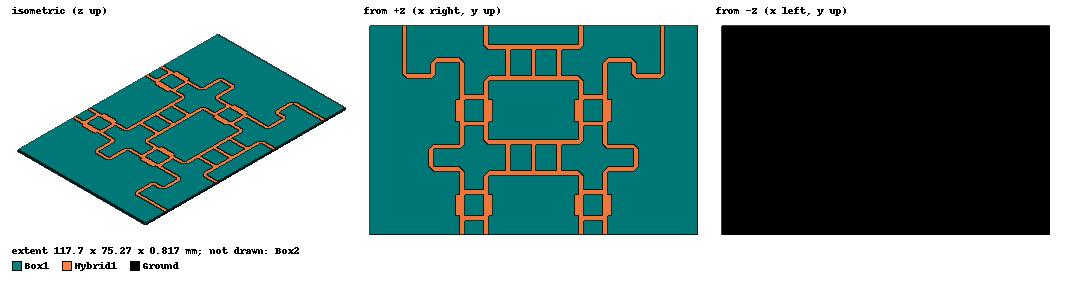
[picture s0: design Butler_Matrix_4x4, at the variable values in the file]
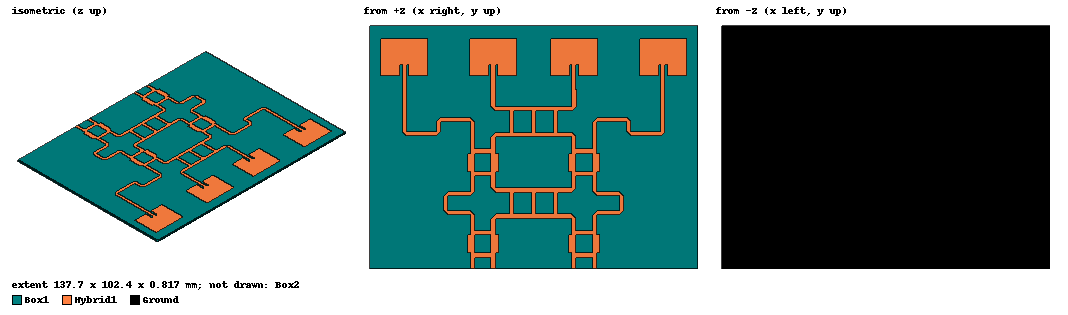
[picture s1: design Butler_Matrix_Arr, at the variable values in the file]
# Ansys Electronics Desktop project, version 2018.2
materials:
  copper: permeability=0.999991 conductivity=58000000
  FR4_epoxy: permittivity=4.4 dielectric_loss_tangent=0.02
  Rogers RO4003 (tm): permittivity=3.55 dielectric_loss_tangent=0.0027
  vacuum: permittivity=1

design Butler_Matrix_4x4 (HFSS, DrivenModal, model units mm)
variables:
  H = 0.8mm
  W_50 = 2.3mm
  Hybrid_L_35 = 7.82mm
  Hybrid_L_50 = 7.05mm
  Hybrid_L = 2*Hybrid_L_feed+2*Hybrid_W_50+Hybrid_L_35
  Hybrid_W = 25mm
  Hybrid_W_50 = 1.7645mm
  Hybrid_W_35 = 2.985mm
  Hybrid_L_feed = 5mm
  Cross_L_50 = 9.2mm
  Cross_W_50 = 1.76771mm
  Cross_L_feed = 6mm
  Cross_L = 2*Cross_L_feed+2*Cross_L_50+Cross_W_50
  Cross_W = 25mm
  Phase_c = 6.20642mm
  Phase_W = 40mm
  Phase_W_50 = 1.7645mm
  Phase_a = 1.5mm
  Phase_b = 9.3mm
  L_feed6 = L_feed5
  L_feed7 = L_feed5
  L_feed5 = 7.1mm
  L = 2*Hybrid_L+2*Cross_L_50+4*Cross_W_50+L_feed5
  L_feed8 = L_feed5
  W = Cross_L+6*Hybrid_W_50+2*Hybrid_L_50+2*Phase_b
  exten_b = 4mm
  exten_W_50 = 1.7645mm
  exten_a = 6.36771mm
  exten_c = 8.5mm
  exten_W = 30mm
  exten_L = 2*exten_a+2*exten_W_50+exten_c
  Phase_L = 2*Phase_a+2*Phase_W_50+Phase_c
  L_feed = 5mm
  L_50 = 9.2mm
  exten_pad = 6mm
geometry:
  Box1 [Rogers RO4003 (tm)] = box(corner=(-25mm, 0mm, 0mm), size=(W+42.292mm, L, H))
  Ground = object_from(Box1.face(-z))
  Port2 = rectangle(corner=(Hybrid_W/2+Hybrid_L_50/2, 0mm, H), z_size=-H, x_size=Hybrid_W_50)
  Port1 = rectangle(corner=(Hybrid_W/2-Hybrid_L_50/2, 0mm, H), z_size=-H, x_size=-Hybrid_W_50)
  Port3 = rectangle(corner=(Cross_L+Hybrid_W/2+Hybrid_L_50/2+Hybrid_W_50, 0mm, H), z_size=-H, x_size=Hybrid_W_50)
  Port4 = rectangle(corner=(Cross_L+Hybrid_W/2+1.5*Hybrid_L_50+2*Hybrid_W_50, 0mm, H), z_size=-H, x_size=Hybrid_W_50)
  Port5 = rectangle(corner=(Hybrid_W/2-Hybrid_L_50/2-2*exten_W_50-2*exten_c, L, H), z_size=-H, x_size=-Hybrid_W_50)
  Port6 = rectangle(corner=(Hybrid_W/2+Hybrid_L_50/2, L, H), z_size=-H, x_size=Cross_W_50)
  Port7 = rectangle(corner=(Cross_L+Hybrid_W/2+Hybrid_L_50/2+Hybrid_W_50, L, H), z_size=-H, x_size=Cross_W_50)
  Port8 = rectangle(corner=(Cross_L+Hybrid_W/2+1.5*Hybrid_L_50+4*Hybrid_W_50+2*exten_c, L, H), z_size=-H, x_size=Hybrid_W_50)
  Box2 [vacuum] = box(corner=(-35mm, -10mm, -10mm), size=(W+70mm-2*3.854mm, 20mm+L, 20mm))
  Hybrid1 [copper] = rectangle(corner=(Hybrid_W/2-Hybrid_L_50/2, 0mm, H), x_size=-Hybrid_W_50, y_size=Hybrid_L_feed+Hybrid_W_50)
  feed2 = rectangle(corner=(Hybrid_W/2-Hybrid_L_50/2, Hybrid_L, H), x_size=-Hybrid_W_50, y_size=-Hybrid_L_feed-Hybrid_W_50)
  feed3 = rectangle(corner=(Hybrid_W/2+Hybrid_L_50/2, Hybrid_L, H), x_size=Hybrid_W_50, y_size=-Hybrid_L_feed-Hybrid_W_50)
  feed4 = rectangle(corner=(Hybrid_W/2+Hybrid_L_50/2, 0mm, H), x_size=Hybrid_W_50, y_size=Hybrid_L_feed+Hybrid_W_50)
  branch42 = rectangle(corner=(Hybrid_W/2-Hybrid_L_50/2, Hybrid_L_feed+Hybrid_W_50, H), x_size=-Hybrid_W_35, y_size=Hybrid_L_35)
  branch43 = rectangle(corner=(Hybrid_W/2+Hybrid_L_50/2, Hybrid_L_feed+Hybrid_W_50, H), x_size=Hybrid_W_35, y_size=Hybrid_L_35)
  branch44 = rectangle(corner=(Hybrid_W/2-Hybrid_L_50/2, Hybrid_L_feed, H), x_size=Hybrid_L_50, y_size=Hybrid_W_50)
  branch45 = rectangle(corner=(Hybrid_W/2-Hybrid_L_50/2, Hybrid_L_feed+Hybrid_L_35+Hybrid_W_50, H), x_size=Hybrid_L_50, y_size=Hybrid_W_50)
  Hybrid1.unite(feed2, feed3, feed4, branch42..branch45)
  Hybird3 = Hybrid1.duplicate_along_line(step=(0mm, Hybrid_L+Cross_L_50+2*Cross_W_50, 0mm), total=2)
  Bend_1 = polyline(z=H, xy: (Hybrid_W/2+Hybrid_L_50/2+Hybrid_W_50, Hybrid_L) (Hybrid_W/2+Hybrid_L_50/2+Hybrid_W_50, Hybrid_L+Cross_W_50) (Hybrid_W/2+Hybrid_L_50/2, Hybrid_L) (Hybrid_W/2+Hybrid_L_50/2+Hybrid_W_50, Hybrid_L), closed, covered)
  Bend_2 = polyline(z=H, xy: (Cross_L+Hybrid_W/2+Hybrid_L_50/2+Hybrid_W_50, Hybrid_L) (Cross_L+Hybrid_W/2+Hybrid_L_50/2+2*Hybrid_W_50, Hybrid_L) (Cross_L+Hybrid_W/2+Hybrid_L_50/2+Hybrid_W_50, Hybrid_L+Cross_W_50) (Cross_L+Hybrid_W/2+Hybrid_L_50/2+Hybrid_W_50, Hybrid_L), closed, covered)
  Hybrid2 = Hybrid1.duplicate_along_line(step=(Cross_L+Hybrid_L_50+2*Hybrid_W_50, 0mm, 0mm), total=2)
  Hybrid4 = Hybird3.duplicate_along_line(step=(Cross_L+Hybrid_L_50+2*Hybrid_W_50, 0mm, 0mm), total=2)
  Bend_3 = polyline(z=H, xy: (Hybrid_W/2+Hybrid_L_50/2+Hybrid_W_50, Hybrid_L+Cross_W_50+Cross_L_50) (Hybrid_W/2+Hybrid_L_50/2+Hybrid_W_50, Hybrid_L+2*Cross_W_50+Cross_L_50) (Hybrid_W/2+Hybrid_L_50/2, Hybrid_L+2*Cross_W_50+Cross_L_50) (Hybrid_W/2+Hybrid_L_50/2+Hybrid_W_50, Hybrid_L+Cross_W_50+Cross_L_50), closed, covered)
  Bend_4 = polyline(z=H, xy: (Cross_L+Hybrid_W/2+Hybrid_L_50/2+Hybrid_W_50, Hybrid_L+Cross_L_50+Cross_W_50) (Cross_L+Hybrid_W/2+Hybrid_L_50/2+Hybrid_W_50, Hybrid_L+Cross_L_50+2*Cross_W_50) (Cross_L+Hybrid_W/2+Hybrid_L_50/2+2*Hybrid_W_50, Hybrid_L+Cross_L_50+2*Cross_W_50) (Cross_L+Hybrid_W/2+Hybrid_L_50/2+Hybrid_W_50, Hybrid_L+Cross_L_50+Cross_W_50), closed, covered)
  Bend_5 = polyline(z=H, xy: (Hybrid_W/2+Hybrid_L_50/2+Hybrid_W_50, Hybrid_L+2*Cross_W_50+Cross_L_50+Hybrid_L) (Hybrid_W/2+Hybrid_L_50/2+Hybrid_W_50, Hybrid_L+3*Cross_W_50+Cross_L_50+Hybrid_L) (Hybrid_W/2+Hybrid_L_50/2, Hybrid_L+2*Cross_W_50+Cross_L_50+Hybrid_L) (Hybrid_W/2+Hybrid_L_50/2+Hybrid_W_50, Hybrid_L+2*Cross_W_50+Cross_L_50+Hybrid_L), closed, covered)
  Bend_6 = polyline(z=H, xy: (Cross_L+Hybrid_W/2+Hybrid_L_50/2+Hybrid_W_50, 2*Hybrid_L+Cross_L_50+2*Cross_W_50) (Cross_L+Hybrid_W/2+Hybrid_L_50/2+Hybrid_W_50, 2*Hybrid_L+Cross_L_50+3*Cross_W_50) (Cross_L+Hybrid_W/2+Hybrid_L_50/2+2*Hybrid_W_50, 2*Hybrid_L+Cross_L_50+2*Cross_W_50) (Cross_L+Hybrid_W/2+Hybrid_L_50/2+Hybrid_W_50, 2*Hybrid_L+Cross_L_50+2*Cross_W_50), closed, covered)
  Phaser45_top = rectangle(corner=(Phase_W/2-Phase_W_50/2, 0mm, H), x_size=Phase_W_50, y_size=Phase_a)
  TL5 = rectangle(corner=(Phase_W/2-Phase_W_50/2, Phase_a+2*Phase_W_50+Phase_c, H), x_size=Phase_W_50, y_size=Phase_a)
  TL4 = rectangle(corner=(Phase_W/2-Phase_W_50/2-Phase_b, Phase_a+Phase_W_50+Phase_c, H), x_size=Phase_b, y_size=Phase_W_50)
  TL3 = rectangle(corner=(Phase_W/2-Phase_W_50/2-Phase_b, Phase_a+Phase_W_50, H), x_size=-Phase_W_50, y_size=Phase_c)
  TL2 = rectangle(corner=(Phase_W/2-Phase_W_50/2, Phase_a, H), x_size=-Phase_b, y_size=Phase_W_50)
  Bend10 = polyline(z=H, xy: (Phase_W/2-Phase_W_50/2, Phase_a+Phase_W_50+Phase_c) (Phase_W/2+Phase_W_50/2, Phase_a+2*Phase_W_50+Phase_c) (Phase_W/2-Phase_W_50/2, Phase_a+2*Phase_W_50+Phase_c) (Phase_W/2-Phase_W_50/2, Phase_a+Phase_W_50+Phase_c), closed, covered)
  Bend9 = polyline(z=H, xy: (Phase_W/2-1.5*Phase_W_50-Phase_b, Phase_a+Phase_W_50+Phase_c) (Phase_W/2-Phase_W_50/2-Phase_b, Phase_a+2*Phase_W_50+Phase_c) (Phase_W/2-Phase_W_50/2-Phase_b, Phase_a+Phase_W_50+Phase_c) (Phase_W/2-1.5*Phase_W_50-Phase_b, Phase_a+Phase_W_50+Phase_c), closed, covered)
  Bend8 = polyline(z=H, xy: (Phase_W/2-Phase_W_50/2-Phase_b, Phase_a) (Phase_W/2-1.5*Phase_W_50-Phase_b, Phase_a+Phase_W_50) (Phase_W/2-Phase_W_50/2-Phase_b, Phase_a+Phase_W_50) (Phase_W/2-Phase_W_50/2-Phase_b, Phase_a), closed, covered)
  Bend7 = polyline(z=H, xy: (Phase_W/2+Phase_W_50/2, Phase_a) (Phase_W/2-Phase_W_50/2, Phase_a+Phase_W_50) (Phase_W/2-Phase_W_50/2, Phase_a) (Phase_W/2+Phase_W_50/2, Phase_a), closed, covered)
  Phaser45_top.unite(TL5, TL4, TL3, TL2, Bend10, Bend9, Bend8, Bend7)
  Phaser45_top.move(-Phase_W/2+Phase_W_50/2+Hybrid_W/2-Hybrid_L_50/2-Hybrid_W_50, Hybrid_L, 0mm)
  Phaser45_down = Phaser45_top.duplicate_mirror(point=(Hybrid_W/2+Hybrid_L_50/2+Hybrid_W_50+Cross_L/2, Hybrid_L+Cross_W_50+Cross_L_50/2, 0mm), normal=(1mm, 0mm, 0mm))
  Feed_6 = rectangle(corner=(Hybrid_W/2+Hybrid_L_50/2+Hybrid_W_50, Hybrid_L+4*Cross_W_50+2*Cross_L_50+Hybrid_L, H), x_size=-Cross_W_50, y_size=L_feed6)
  Feed_7 = rectangle(corner=(Cross_L+Hybrid_W/2+Hybrid_L_50/2+Hybrid_W_50, 2*Hybrid_L+2*Cross_L_50+4*Cross_W_50, H), x_size=Cross_W_50, y_size=L_feed7)
  Feed_5 = rectangle(corner=(Hybrid_W/2-Hybrid_L_50/2-2*exten_W_50-2*exten_c, Hybrid_L+4*Cross_W_50+2*Cross_L_50+Hybrid_L, H), x_size=-Hybrid_W_50, y_size=L_feed5)
  Feed_8 = rectangle(corner=(Cross_L+Hybrid_W/2+1.5*Hybrid_L_50+2*Hybrid_W_50+2*exten_c+2*exten_W_50, 2*Hybrid_L+2*Cross_L_50+4*Cross_W_50, H), x_size=Hybrid_W_50, y_size=L_feed8)
  Bend_7 = polyline(z=H, xy: (Hybrid_W/2+Hybrid_L_50/2+Hybrid_W_50, Hybrid_L+3*Cross_W_50+2*Cross_L_50+Hybrid_L) (Hybrid_W/2+Hybrid_L_50/2+Hybrid_W_50, Hybrid_L+4*Cross_W_50+2*Cross_L_50+Hybrid_L) (Hybrid_W/2+Hybrid_L_50/2, Hybrid_L+4*Cross_W_50+2*Cross_L_50+Hybrid_L) (Hybrid_W/2+Hybrid_L_50/2+Hybrid_W_50, Hybrid_L+3*Cross_W_50+2*Cross_L_50+Hybrid_L), closed, covered)
  Bend_8 = polyline(z=H, xy: (Cross_L+Hybrid_W/2+Hybrid_L_50/2+Hybrid_W_50, 2*Hybrid_L+2*Cross_L_50+3*Cross_W_50) (Cross_L+Hybrid_W/2+Hybrid_L_50/2+Hybrid_W_50, 2*Hybrid_L+2*Cross_L_50+4*Cross_W_50) (Cross_L+Hybrid_W/2+Hybrid_L_50/2+2*Hybrid_W_50, 2*Hybrid_L+2*Cross_L_50+4*Cross_W_50) (Cross_L+Hybrid_W/2+Hybrid_L_50/2+Hybrid_W_50, 2*Hybrid_L+2*Cross_L_50+3*Cross_W_50), closed, covered)
  Crossover1 = rectangle(corner=(Cross_W/2-Cross_L_50/2, 0mm, H), x_size=-Cross_W_50, y_size=Cross_L_feed+Cross_W_50/2)
  feed6 = rectangle(corner=(Cross_W/2-Cross_L_50/2, Cross_L, H), x_size=-Cross_W_50, y_size=-Cross_L_feed-Cross_W_50/2)
  feed7 = rectangle(corner=(Cross_W/2+Cross_L_50/2, Cross_L, H), x_size=Cross_W_50, y_size=-Cross_L_feed-Cross_W_50/2)
  feed5 = rectangle(corner=(Cross_W/2+Cross_L_50/2, 0mm, H), x_size=Cross_W_50, y_size=Cross_L_feed+Cross_W_50/2)
  parallel1 = rectangle(corner=(Cross_W/2-Cross_L_50/2, Cross_L_feed, H), x_size=Cross_L_50, y_size=Cross_W_50)
  parallel2 = rectangle(corner=(Cross_W/2-Cross_L_50/2, Cross_L_feed+Cross_L_50, H), x_size=Cross_L_50, y_size=Cross_W_50)
  parallel3 = rectangle(corner=(Cross_W/2-Cross_L_50/2, Cross_L_feed+2*Cross_L_50, H), x_size=Cross_L_50, y_size=Cross_W_50)
  series1_1 = rectangle(corner=(Cross_W/2-Cross_L_50/2, Cross_L_feed+Cross_W_50/2, H), x_size=-Cross_W_50, y_size=Cross_L_50)
  series1_2 = rectangle(corner=(Cross_W/2+Cross_L_50/2, Cross_L_feed+Cross_W_50/2, H), x_size=Cross_W_50, y_size=Cross_L_50)
  series2_1 = rectangle(corner=(Cross_W/2-Cross_L_50/2, Cross_L_feed+Cross_W_50/2+Cross_L_50, H), x_size=-Cross_W_50, y_size=Cross_L_50)
  series2_2 = rectangle(corner=(Cross_W/2+Cross_L_50/2, Cross_L_feed+Cross_W_50/2+Cross_L_50, H), x_size=Cross_W_50, y_size=Cross_L_50)
  Crossover1.unite(feed6, feed7, feed5, parallel1, parallel2, parallel3, series1_1, series1_2, series2_1, series2_2)
  coordinate_system RelativeCS1 = origin=(Cross_W/2+Cross_L_50/2+Cross_W_50, 0mm, 0.8mm) x=(1mm, 0mm, 0mm) y=(0mm, 1mm, 0mm)
  Crossover1.rotate(axis=Z, angle=-90deg) in RelativeCS1
  Crossover1.move(Hybrid_W/2+Hybrid_L_50/2+Hybrid_W_50-Cross_W/2-Cross_L_50/2-Cross_W_50, Hybrid_L, 0mm) in RelativeCS1
  Crossover2 = Crossover1.duplicate_along_line(step=(0mm, Cross_L_50+2*Cross_W_50+Hybrid_L, 0mm), total=2) in RelativeCS1
  Top = rectangle(corner=(exten_W-exten_W_50-exten_pad, 0mm, H), x_size=exten_W_50, y_size=exten_a)
  TL6 = rectangle(corner=(exten_W-2*exten_W_50-exten_pad-2*exten_c, exten_a, H), x_size=-exten_W_50, y_size=exten_a)
  TL9 = rectangle(corner=(exten_W-2*exten_W_50-exten_pad-2*exten_c, exten_a-exten_b, H), x_size=-exten_W_50, y_size=exten_b)
  TL10 = rectangle(corner=(exten_W-2*exten_W_50-exten_pad-exten_c, exten_a-exten_b, H), x_size=-exten_c, y_size=-exten_W_50)
  TL8 = rectangle(corner=(exten_W-exten_W_50-exten_pad-exten_c, exten_a, H), x_size=-exten_W_50, y_size=-exten_b)
  TL7 = rectangle(corner=(exten_W-exten_W_50-exten_pad, exten_a, H), x_size=-exten_c, y_size=exten_W_50)
  Bend4 = polyline(z=H, xy: (exten_W-2*exten_W_50-exten_pad-2*exten_c, exten_a-exten_b-exten_W_50) (exten_W-2*exten_W_50-exten_pad-2*exten_c, exten_a-exten_b) (exten_W-3*exten_W_50-exten_pad-2*exten_c, exten_a-exten_b) (exten_W-2*exten_W_50-exten_pad-2*exten_c, exten_a-exten_b-exten_W_50), closed, covered)
  Bend3 = polyline(z=H, xy: (exten_W-2*exten_W_50-exten_pad-exten_c, exten_a-exten_b) (exten_W-2*exten_W_50-exten_pad-exten_c, exten_a-exten_b-exten_W_50) (exten_W-exten_W_50-exten_pad-exten_c, exten_a-exten_b) (exten_W-2*exten_W_50-exten_pad-exten_c, exten_a-exten_b), closed, covered)
  Bend2 = polyline(z=H, xy: (exten_W-exten_W_50-exten_pad-exten_c, exten_a) (exten_W-2*exten_W_50-exten_pad-exten_c, exten_a) (exten_W-exten_W_50-exten_pad-exten_c, exten_a+exten_W_50) (exten_W-exten_W_50-exten_pad-exten_c, exten_a), closed, covered)
  Bend1 = polyline(z=H, xy: (exten_W-exten_pad, exten_a) (exten_W-exten_W_50-exten_pad, exten_a+exten_W_50) (exten_W-exten_W_50-exten_pad, exten_a) (exten_W-exten_pad, exten_a), closed, covered)
  Top.unite(TL6, TL9, TL10, TL8, TL7, Bend4, Bend3, Bend2, Bend1)
  Top.move(-15.025mm, 55.43342mm, 0mm)
  Top_1 = Top.duplicate_mirror(point=(33.873355mm, 61.80113mm, 0.8mm), normal=(1mm, -7.0463403e-16mm, 1.1009907e-17mm))
  Hybrid1.unite(Hybrid2, Hybrid4, Hybird3, Phaser45_down, Phaser45_top, Top, Top_1, Feed_8, Feed_7, Feed_6, Feed_5, Crossover2, Crossover1, Bend_8, Bend_7, Bend_6, Bend_5, Bend_4, Bend_3, Bend_2, Bend_1)
  Hybrid1.thicken(-0.017mm)
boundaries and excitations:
  PerfE1: Perfect E Objects=Ground
  Rad1: Radiation Objects=Box2
  1: Lumped Port Faces=Port1.face Modes{Mode1{IntLine{middle of Port1.edge(z opposite corner) -> middle of Port1.edge(z at corner)} CharImp=Zpi RenormImp=50ohm}} Impedance=50ohm
  2: Lumped Port Objects=Port2 Modes{Mode1{IntLine{middle of Port2.edge(z opposite corner) -> middle of Port2.edge(z at corner)} CharImp=Zpi RenormImp=50ohm}} Impedance=50ohm
  3: Lumped Port Objects=Port3 Modes{Mode1{IntLine{middle of Port3.edge(z opposite corner) -> middle of Port3.edge(z at corner)} CharImp=Zpi RenormImp=50ohm}} Impedance=50ohm
  4: Lumped Port Objects=Port4 Modes{Mode1{IntLine{middle of Port4.edge(z opposite corner) -> middle of Port4.edge(z at corner)} CharImp=Zpi RenormImp=50ohm}} Impedance=50ohm
  5: Lumped Port Objects=Port5 Modes{Mode1{IntLine{middle of Port5.edge(z opposite corner) -> middle of Port5.edge(z at corner)} CharImp=Zpi RenormImp=50ohm}} Impedance=50ohm
  6: Lumped Port Objects=Port6 Modes{Mode1{IntLine{middle of Port6.edge(z opposite corner) -> middle of Port6.edge(z at corner)} CharImp=Zpi RenormImp=50ohm}} Impedance=50ohm
  7: Lumped Port Objects=Port7 Modes{Mode1{IntLine{middle of Port7.edge(z opposite corner) -> middle of Port7.edge(z at corner)} CharImp=Zpi RenormImp=50ohm}} Impedance=50ohm
  8: Lumped Port Objects=Port8 Modes{Mode1{IntLine{middle of Port8.edge(z opposite corner) -> middle of Port8.edge(z at corner)} CharImp=Zpi RenormImp=50ohm}} Impedance=50ohm
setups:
  Setup1: HfssDriven Frequency=5GHz MaxDeltaS=0.02 MaximumPasses=20 MinimumPasses=1 MinimumConvergedPasses=1 PercentRefinement=30 BasisOrder=1 PortAccuracy=2
    sweep Sweep: 4GHz to 6GHz step 0.01GHz; Type=Fast SaveFields
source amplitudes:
  1:1: 1W 0deg
  2:1, 3:1, 4:1, 5:1, 6:1, 7:1, 8:1: 0W 0deg
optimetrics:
  ParametricSetup1: Parametric Sim._Setups=[Setup1]
    sweep L_feed5: LIN 2mm 8mm 0.25mm
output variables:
  phase_diff_5_6 = ang_deg(S(5,1))-ang_deg(S(6,1))
  phase_diff_6_7 = ang_deg(S(6,1))-ang_deg(S(7,1))
  phase_diff_7_8 = ang_deg(S(7,1))-ang_deg(S(8,1))
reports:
  S-Parameters: dB(S(1,1)), dB(S(2,1)), dB(S(3,1)), dB(S(4,1)) vs Freq on Setup1 : Sweep; markers MX1 at x=5.0029718e+09, MY1 at y=-14.975
  Insertion Loss: dB(S(5,1)), dB(S(6,1)), dB(S(7,1)), dB(S(8,1)) vs Freq on Setup1 : Sweep; markers MX1 at x=5.0029718e+09
  S Parameter Plot 3: ang_deg(S(5,1)), ang_deg(S(6,1)), ang_deg(S(7,1)), ang_deg(S(8,1)) vs Freq on Setup1 : Sweep; markers MX1 at x=5e+09
  Output Variables Plot 1: phase_diff_5_6, phase_diff_6_7, phase_diff_7_8 vs Freq on Setup1 : Sweep; markers MX1 at x=5e+09
  S Parameter Plot 4: ang_deg(S(2,1)) vs Freq on Setup1 : Sweep [L_feed5=all]; markers MX1 at x=4.9999383e+09

design Butler_Matrix_Arr (HFSS, DrivenModal, model units mm)
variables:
  H = 0.8mm
  W_50 = 1.7645mm
  Hybrid_L_35 = 7.82mm
  Hybrid_L_50 = 7.05mm
  Hybrid_L = 2*Hybrid_L_feed+2*Hybrid_W_50+Hybrid_L_35
  Hybrid_W = 25mm
  Hybrid_W_50 = 1.7645mm
  Hybrid_W_35 = 2.985mm
  Hybrid_L_feed = 5mm
  Cross_L_50 = 9.2mm
  Cross_W_50 = 1.76771mm
  Cross_L_feed = 6mm
  Cross_L = 2*Cross_L_feed+2*Cross_L_50+Cross_W_50
  Cross_W = 25mm
  Phase_c = 6.20642mm
  Phase_W = 40mm
  Phase_W_50 = 1.7645mm
  Phase_a = 1.5mm
  Phase_b = 9.3mm
  L_feed6 = L_feed5
  L_feed7 = L_feed5
  L_feed5 = 7.1mm
  L = 2*Hybrid_L+2*Cross_L_50+4*Cross_W_50+L_feed5+La
  L_feed8 = L_feed5
  W = Cross_L+6*Hybrid_W_50+2*Hybrid_L_50+2*Phase_b
  exten_b = 4mm
  exten_W_50 = 1.7645mm
  exten_a = 6.36771mm
  exten_c = 12.5mm
  exten_W = 30mm
  exten_L = 2*exten_a+2*exten_W_50+exten_c
  Phase_L = 2*Phase_a+2*Phase_W_50+Phase_c
  L_feed = 5mm
  L_50 = 9.2mm
  exten_pad = 6mm
  Wa = Wp+6*hg
  S = 4.005mm
  hg = 1.9298mm
  Lp = 15.6mm
  Wp = 19.9mm
  depth = 4.842mm
  La = Lp+6*hg
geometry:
  Box1 [Rogers RO4003 (tm)] = box(corner=(-35mm, 0mm, 0mm), size=(W+62.292mm, L, H))
  Ground = object_from(Box1.face(-z))
  Port2 = rectangle(corner=(Hybrid_W/2+Hybrid_L_50/2, 0mm, H), z_size=-H, x_size=Hybrid_W_50)
  Port1 = rectangle(corner=(Hybrid_W/2-Hybrid_L_50/2, 0mm, H), z_size=-H, x_size=-Hybrid_W_50)
  Port3 = rectangle(corner=(Cross_L+Hybrid_W/2+Hybrid_L_50/2+Hybrid_W_50, 0mm, H), z_size=-H, x_size=Hybrid_W_50)
  Port4 = rectangle(corner=(Cross_L+Hybrid_W/2+1.5*Hybrid_L_50+2*Hybrid_W_50, 0mm, H), z_size=-H, x_size=Hybrid_W_50)
  Box2 [vacuum] = box(corner=(-45mm, -10mm, -10mm), size=(W+90mm-2*3.854mm, 20mm+L, 20mm))
  Hybrid1 [copper] = rectangle(corner=(Hybrid_W/2-Hybrid_L_50/2, 0mm, H), x_size=-Hybrid_W_50, y_size=Hybrid_L_feed+Hybrid_W_50)
  feed2 = rectangle(corner=(Hybrid_W/2-Hybrid_L_50/2, Hybrid_L, H), x_size=-Hybrid_W_50, y_size=-Hybrid_L_feed-Hybrid_W_50)
  feed3 = rectangle(corner=(Hybrid_W/2+Hybrid_L_50/2, Hybrid_L, H), x_size=Hybrid_W_50, y_size=-Hybrid_L_feed-Hybrid_W_50)
  feed4 = rectangle(corner=(Hybrid_W/2+Hybrid_L_50/2, 0mm, H), x_size=Hybrid_W_50, y_size=Hybrid_L_feed+Hybrid_W_50)
  branch42 = rectangle(corner=(Hybrid_W/2-Hybrid_L_50/2, Hybrid_L_feed+Hybrid_W_50, H), x_size=-Hybrid_W_35, y_size=Hybrid_L_35)
  branch43 = rectangle(corner=(Hybrid_W/2+Hybrid_L_50/2, Hybrid_L_feed+Hybrid_W_50, H), x_size=Hybrid_W_35, y_size=Hybrid_L_35)
  branch44 = rectangle(corner=(Hybrid_W/2-Hybrid_L_50/2, Hybrid_L_feed, H), x_size=Hybrid_L_50, y_size=Hybrid_W_50)
  branch45 = rectangle(corner=(Hybrid_W/2-Hybrid_L_50/2, Hybrid_L_feed+Hybrid_L_35+Hybrid_W_50, H), x_size=Hybrid_L_50, y_size=Hybrid_W_50)
  Hybrid1.unite(feed2, feed3, feed4, branch42..branch45)
  Hybird3 = Hybrid1.duplicate_along_line(step=(0mm, Hybrid_L+Cross_L_50+2*Cross_W_50, 0mm), total=2)
  Bend_1 = polyline(z=H, xy: (Hybrid_W/2+Hybrid_L_50/2+Hybrid_W_50, Hybrid_L) (Hybrid_W/2+Hybrid_L_50/2+Hybrid_W_50, Hybrid_L+Cross_W_50) (Hybrid_W/2+Hybrid_L_50/2, Hybrid_L) (Hybrid_W/2+Hybrid_L_50/2+Hybrid_W_50, Hybrid_L), closed, covered)
  Bend_2 = polyline(z=H, xy: (Cross_L+Hybrid_W/2+Hybrid_L_50/2+Hybrid_W_50, Hybrid_L) (Cross_L+Hybrid_W/2+Hybrid_L_50/2+2*Hybrid_W_50, Hybrid_L) (Cross_L+Hybrid_W/2+Hybrid_L_50/2+Hybrid_W_50, Hybrid_L+Cross_W_50) (Cross_L+Hybrid_W/2+Hybrid_L_50/2+Hybrid_W_50, Hybrid_L), closed, covered)
  Hybrid2 = Hybrid1.duplicate_along_line(step=(Cross_L+Hybrid_L_50+2*Hybrid_W_50, 0mm, 0mm), total=2)
  Hybrid4 = Hybird3.duplicate_along_line(step=(Cross_L+Hybrid_L_50+2*Hybrid_W_50, 0mm, 0mm), total=2)
  Bend_3 = polyline(z=H, xy: (Hybrid_W/2+Hybrid_L_50/2+Hybrid_W_50, Hybrid_L+Cross_W_50+Cross_L_50) (Hybrid_W/2+Hybrid_L_50/2+Hybrid_W_50, Hybrid_L+2*Cross_W_50+Cross_L_50) (Hybrid_W/2+Hybrid_L_50/2, Hybrid_L+2*Cross_W_50+Cross_L_50) (Hybrid_W/2+Hybrid_L_50/2+Hybrid_W_50, Hybrid_L+Cross_W_50+Cross_L_50), closed, covered)
  Bend_4 = polyline(z=H, xy: (Cross_L+Hybrid_W/2+Hybrid_L_50/2+Hybrid_W_50, Hybrid_L+Cross_L_50+Cross_W_50) (Cross_L+Hybrid_W/2+Hybrid_L_50/2+Hybrid_W_50, Hybrid_L+Cross_L_50+2*Cross_W_50) (Cross_L+Hybrid_W/2+Hybrid_L_50/2+2*Hybrid_W_50, Hybrid_L+Cross_L_50+2*Cross_W_50) (Cross_L+Hybrid_W/2+Hybrid_L_50/2+Hybrid_W_50, Hybrid_L+Cross_L_50+Cross_W_50), closed, covered)
  Bend_5 = polyline(z=H, xy: (Hybrid_W/2+Hybrid_L_50/2+Hybrid_W_50, Hybrid_L+2*Cross_W_50+Cross_L_50+Hybrid_L) (Hybrid_W/2+Hybrid_L_50/2+Hybrid_W_50, Hybrid_L+3*Cross_W_50+Cross_L_50+Hybrid_L) (Hybrid_W/2+Hybrid_L_50/2, Hybrid_L+2*Cross_W_50+Cross_L_50+Hybrid_L) (Hybrid_W/2+Hybrid_L_50/2+Hybrid_W_50, Hybrid_L+2*Cross_W_50+Cross_L_50+Hybrid_L), closed, covered)
  Bend_6 = polyline(z=H, xy: (Cross_L+Hybrid_W/2+Hybrid_L_50/2+Hybrid_W_50, 2*Hybrid_L+Cross_L_50+2*Cross_W_50) (Cross_L+Hybrid_W/2+Hybrid_L_50/2+Hybrid_W_50, 2*Hybrid_L+Cross_L_50+3*Cross_W_50) (Cross_L+Hybrid_W/2+Hybrid_L_50/2+2*Hybrid_W_50, 2*Hybrid_L+Cross_L_50+2*Cross_W_50) (Cross_L+Hybrid_W/2+Hybrid_L_50/2+Hybrid_W_50, 2*Hybrid_L+Cross_L_50+2*Cross_W_50), closed, covered)
  Phaser45_top = rectangle(corner=(Phase_W/2-Phase_W_50/2, 0mm, H), x_size=Phase_W_50, y_size=Phase_a)
  TL5 = rectangle(corner=(Phase_W/2-Phase_W_50/2, Phase_a+2*Phase_W_50+Phase_c, H), x_size=Phase_W_50, y_size=Phase_a)
  TL4 = rectangle(corner=(Phase_W/2-Phase_W_50/2-Phase_b, Phase_a+Phase_W_50+Phase_c, H), x_size=Phase_b, y_size=Phase_W_50)
  TL3 = rectangle(corner=(Phase_W/2-Phase_W_50/2-Phase_b, Phase_a+Phase_W_50, H), x_size=-Phase_W_50, y_size=Phase_c)
  TL2 = rectangle(corner=(Phase_W/2-Phase_W_50/2, Phase_a, H), x_size=-Phase_b, y_size=Phase_W_50)
  Bend10 = polyline(z=H, xy: (Phase_W/2-Phase_W_50/2, Phase_a+Phase_W_50+Phase_c) (Phase_W/2+Phase_W_50/2, Phase_a+2*Phase_W_50+Phase_c) (Phase_W/2-Phase_W_50/2, Phase_a+2*Phase_W_50+Phase_c) (Phase_W/2-Phase_W_50/2, Phase_a+Phase_W_50+Phase_c), closed, covered)
  Bend9 = polyline(z=H, xy: (Phase_W/2-1.5*Phase_W_50-Phase_b, Phase_a+Phase_W_50+Phase_c) (Phase_W/2-Phase_W_50/2-Phase_b, Phase_a+2*Phase_W_50+Phase_c) (Phase_W/2-Phase_W_50/2-Phase_b, Phase_a+Phase_W_50+Phase_c) (Phase_W/2-1.5*Phase_W_50-Phase_b, Phase_a+Phase_W_50+Phase_c), closed, covered)
  Bend8 = polyline(z=H, xy: (Phase_W/2-Phase_W_50/2-Phase_b, Phase_a) (Phase_W/2-1.5*Phase_W_50-Phase_b, Phase_a+Phase_W_50) (Phase_W/2-Phase_W_50/2-Phase_b, Phase_a+Phase_W_50) (Phase_W/2-Phase_W_50/2-Phase_b, Phase_a), closed, covered)
  Bend7 = polyline(z=H, xy: (Phase_W/2+Phase_W_50/2, Phase_a) (Phase_W/2-Phase_W_50/2, Phase_a+Phase_W_50) (Phase_W/2-Phase_W_50/2, Phase_a) (Phase_W/2+Phase_W_50/2, Phase_a), closed, covered)
  Phaser45_top.unite(TL5, TL4, TL3, TL2, Bend10, Bend9, Bend8, Bend7)
  Phaser45_top.move(-Phase_W/2+Phase_W_50/2+Hybrid_W/2-Hybrid_L_50/2-Hybrid_W_50, Hybrid_L, 0mm)
  Phaser45_down = Phaser45_top.duplicate_mirror(point=(Hybrid_W/2+Hybrid_L_50/2+Hybrid_W_50+Cross_L/2, Hybrid_L+Cross_W_50+Cross_L_50/2, 0mm), normal=(1mm, 0mm, 0mm))
  Feed_6 = rectangle(corner=(Hybrid_W/2+Hybrid_L_50/2+Hybrid_W_50, Hybrid_L+4*Cross_W_50+2*Cross_L_50+Hybrid_L, H), x_size=-Cross_W_50, y_size=L_feed6)
  Feed_7 = rectangle(corner=(Cross_L+Hybrid_W/2+Hybrid_L_50/2+Hybrid_W_50, 2*Hybrid_L+2*Cross_L_50+4*Cross_W_50, H), x_size=Cross_W_50, y_size=L_feed7)
  Feed_5 = rectangle(corner=(Hybrid_W/2-Hybrid_L_50/2-2*exten_W_50-2*exten_c, Hybrid_L+4*Cross_W_50+2*Cross_L_50+Hybrid_L, H), x_size=-Hybrid_W_50, y_size=L_feed5)
  Feed_8 = rectangle(corner=(Cross_L+Hybrid_W/2+1.5*Hybrid_L_50+2*Hybrid_W_50+2*exten_c+2*exten_W_50, 2*Hybrid_L+2*Cross_L_50+4*Cross_W_50, H), x_size=Hybrid_W_50, y_size=L_feed8)
  Bend_7 = polyline(z=H, xy: (Hybrid_W/2+Hybrid_L_50/2+Hybrid_W_50, Hybrid_L+3*Cross_W_50+2*Cross_L_50+Hybrid_L) (Hybrid_W/2+Hybrid_L_50/2+Hybrid_W_50, Hybrid_L+4*Cross_W_50+2*Cross_L_50+Hybrid_L) (Hybrid_W/2+Hybrid_L_50/2, Hybrid_L+4*Cross_W_50+2*Cross_L_50+Hybrid_L) (Hybrid_W/2+Hybrid_L_50/2+Hybrid_W_50, Hybrid_L+3*Cross_W_50+2*Cross_L_50+Hybrid_L), closed, covered)
  Bend_8 = polyline(z=H, xy: (Cross_L+Hybrid_W/2+Hybrid_L_50/2+Hybrid_W_50, 2*Hybrid_L+2*Cross_L_50+3*Cross_W_50) (Cross_L+Hybrid_W/2+Hybrid_L_50/2+Hybrid_W_50, 2*Hybrid_L+2*Cross_L_50+4*Cross_W_50) (Cross_L+Hybrid_W/2+Hybrid_L_50/2+2*Hybrid_W_50, 2*Hybrid_L+2*Cross_L_50+4*Cross_W_50) (Cross_L+Hybrid_W/2+Hybrid_L_50/2+Hybrid_W_50, 2*Hybrid_L+2*Cross_L_50+3*Cross_W_50), closed, covered)
  Crossover1 = rectangle(corner=(Cross_W/2-Cross_L_50/2, 0mm, H), x_size=-Cross_W_50, y_size=Cross_L_feed+Cross_W_50/2)
  feed6 = rectangle(corner=(Cross_W/2-Cross_L_50/2, Cross_L, H), x_size=-Cross_W_50, y_size=-Cross_L_feed-Cross_W_50/2)
  feed7 = rectangle(corner=(Cross_W/2+Cross_L_50/2, Cross_L, H), x_size=Cross_W_50, y_size=-Cross_L_feed-Cross_W_50/2)
  feed5 = rectangle(corner=(Cross_W/2+Cross_L_50/2, 0mm, H), x_size=Cross_W_50, y_size=Cross_L_feed+Cross_W_50/2)
  parallel1 = rectangle(corner=(Cross_W/2-Cross_L_50/2, Cross_L_feed, H), x_size=Cross_L_50, y_size=Cross_W_50)
  parallel2 = rectangle(corner=(Cross_W/2-Cross_L_50/2, Cross_L_feed+Cross_L_50, H), x_size=Cross_L_50, y_size=Cross_W_50)
  parallel3 = rectangle(corner=(Cross_W/2-Cross_L_50/2, Cross_L_feed+2*Cross_L_50, H), x_size=Cross_L_50, y_size=Cross_W_50)
  series1_1 = rectangle(corner=(Cross_W/2-Cross_L_50/2, Cross_L_feed+Cross_W_50/2, H), x_size=-Cross_W_50, y_size=Cross_L_50)
  series1_2 = rectangle(corner=(Cross_W/2+Cross_L_50/2, Cross_L_feed+Cross_W_50/2, H), x_size=Cross_W_50, y_size=Cross_L_50)
  series2_1 = rectangle(corner=(Cross_W/2-Cross_L_50/2, Cross_L_feed+Cross_W_50/2+Cross_L_50, H), x_size=-Cross_W_50, y_size=Cross_L_50)
  series2_2 = rectangle(corner=(Cross_W/2+Cross_L_50/2, Cross_L_feed+Cross_W_50/2+Cross_L_50, H), x_size=Cross_W_50, y_size=Cross_L_50)
  Crossover1.unite(feed6, feed7, feed5, parallel1, parallel2, parallel3, series1_1, series1_2, series2_1, series2_2)
  coordinate_system RelativeCS1 = origin=(Cross_W/2+Cross_L_50/2+Cross_W_50, 0mm, 0.8mm) x=(1mm, 0mm, 0mm) y=(0mm, 1mm, 0mm)
  Crossover1.rotate(axis=Z, angle=-90deg) in RelativeCS1
  Crossover1.move(Hybrid_W/2+Hybrid_L_50/2+Hybrid_W_50-Cross_W/2-Cross_L_50/2-Cross_W_50, Hybrid_L, 0mm) in RelativeCS1
  Crossover2 = Crossover1.duplicate_along_line(step=(0mm, Cross_L_50+2*Cross_W_50+Hybrid_L, 0mm), total=2) in RelativeCS1
  Top = rectangle(corner=(exten_W-exten_W_50-exten_pad, 0mm, H), x_size=exten_W_50, y_size=exten_a)
  TL6 = rectangle(corner=(exten_W-2*exten_W_50-exten_pad-2*exten_c, exten_a, H), x_size=-exten_W_50, y_size=exten_a)
  TL9 = rectangle(corner=(exten_W-2*exten_W_50-exten_pad-2*exten_c, exten_a-exten_b, H), x_size=-exten_W_50, y_size=exten_b)
  TL10 = rectangle(corner=(exten_W-2*exten_W_50-exten_pad-exten_c, exten_a-exten_b, H), x_size=-exten_c, y_size=-exten_W_50)
  TL8 = rectangle(corner=(exten_W-exten_W_50-exten_pad-exten_c, exten_a, H), x_size=-exten_W_50, y_size=-exten_b)
  TL7 = rectangle(corner=(exten_W-exten_W_50-exten_pad, exten_a, H), x_size=-exten_c, y_size=exten_W_50)
  Bend4 = polyline(z=H, xy: (exten_W-2*exten_W_50-exten_pad-2*exten_c, exten_a-exten_b-exten_W_50) (exten_W-2*exten_W_50-exten_pad-2*exten_c, exten_a-exten_b) (exten_W-3*exten_W_50-exten_pad-2*exten_c, exten_a-exten_b) (exten_W-2*exten_W_50-exten_pad-2*exten_c, exten_a-exten_b-exten_W_50), closed, covered)
  Bend3 = polyline(z=H, xy: (exten_W-2*exten_W_50-exten_pad-exten_c, exten_a-exten_b) (exten_W-2*exten_W_50-exten_pad-exten_c, exten_a-exten_b-exten_W_50) (exten_W-exten_W_50-exten_pad-exten_c, exten_a-exten_b) (exten_W-2*exten_W_50-exten_pad-exten_c, exten_a-exten_b), closed, covered)
  Bend2 = polyline(z=H, xy: (exten_W-exten_W_50-exten_pad-exten_c, exten_a) (exten_W-2*exten_W_50-exten_pad-exten_c, exten_a) (exten_W-exten_W_50-exten_pad-exten_c, exten_a+exten_W_50) (exten_W-exten_W_50-exten_pad-exten_c, exten_a), closed, covered)
  Bend1 = polyline(z=H, xy: (exten_W-exten_pad, exten_a) (exten_W-exten_W_50-exten_pad, exten_a+exten_W_50) (exten_W-exten_W_50-exten_pad, exten_a) (exten_W-exten_pad, exten_a), closed, covered)
  Top.unite(TL6, TL9, TL10, TL8, TL7, Bend4, Bend3, Bend2, Bend1)
  Top.move(-15.025mm, 55.43342mm, 0mm)
  Top_1 = Top.duplicate_mirror(point=(33.873355mm, 61.80113mm, 0.8mm), normal=(1mm, -7.0463403e-16mm, 1.1009907e-17mm))
  Hybrid1.unite(Hybrid2, Hybrid4, Hybird3, Phaser45_down, Phaser45_top, Top, Top_1, Feed_8, Feed_7, Feed_6, Feed_5, Crossover2, Crossover1, Bend_8, Bend_7, Bend_6, Bend_5, Bend_4, Bend_3, Bend_2, Bend_1)
  Patch = rectangle(corner=(Wa/2-Wp/2, La/2-Lp/2, H), x_size=Wp, y_size=Lp)
  cut = rectangle(corner=(Wa/2-S/2, La/2-Lp/2, H), x_size=S, y_size=depth)
  Patch.subtract(cut)
  Rectangle1 = rectangle(corner=(Wa/2-W_50/2, 0mm, H), x_size=W_50, y_size=3*hg+depth)
  Patch.unite(Rectangle1)
  Patch.move(Hybrid_W/2-Hybrid_L_50/2-2*exten_W_50-2*exten_c-Wa/2-W_50/2, Hybrid_L+4*Cross_W_50+2*Cross_L_50+Hybrid_L+L_feed5, 0)
  Patch_1 = Patch.duplicate_along_line(step=(Hybrid_L_50+exten_W_50+2*Hybrid_W_50+2*exten_c, 0, 0), total=2)
  Patch_2 = Patch.duplicate_along_line(step=(Hybrid_L_50+exten_W_50+3*Hybrid_W_50+2*exten_c+Cross_L, 0mm, 0), total=2)
  Patch_3 = Patch.duplicate_along_line(step=(2*Hybrid_L_50+2*exten_W_50+5*Hybrid_W_50+4*exten_c+Cross_L, 0mm, 0), total=2)
  Hybrid1.unite(Patch, Patch_1, Patch_2, Patch_3)
  Hybrid1.thicken(-0.017mm)
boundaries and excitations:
  PerfE1: Perfect E Objects=Ground
  Rad1: Radiation Objects=Box2
  1: Lumped Port Faces=Port1.face Modes{Mode1{IntLine{middle of Port1.edge(z opposite corner) -> middle of Port1.edge(z at corner)} CharImp=Zpi RenormImp=50ohm}} Impedance=50ohm
  2: Lumped Port Objects=Port2 Modes{Mode1{IntLine{middle of Port2.edge(z opposite corner) -> middle of Port2.edge(z at corner)} CharImp=Zpi RenormImp=50ohm}} Impedance=50ohm
  3: Lumped Port Objects=Port3 Modes{Mode1{IntLine{middle of Port3.edge(z opposite corner) -> middle of Port3.edge(z at corner)} CharImp=Zpi RenormImp=50ohm}} Impedance=50ohm
  4: Lumped Port Objects=Port4 Modes{Mode1{IntLine{middle of Port4.edge(z opposite corner) -> middle of Port4.edge(z at corner)} CharImp=Zpi RenormImp=50ohm}} Impedance=50ohm
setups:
  Setup1: HfssDriven Frequency=5GHz MaxDeltaS=0.02 MaximumPasses=20 MinimumPasses=1 MinimumConvergedPasses=1 PercentRefinement=30 BasisOrder=1 PortAccuracy=2
    sweep Sweep: 4GHz to 6GHz step 0.01GHz; Type=Fast SaveFields
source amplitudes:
  1:1: 1W 0deg
  2:1, 3:1, 4:1: 0W 0deg
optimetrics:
  ParametricSetup1: Parametric disabled Sim._Setups=[Setup1]
    sweep L_feed5: LIN 3.55mm 10.65mm 0.25mm
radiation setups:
  Infinite Sphere1: Infinite Sphere Theta=0deg..180deg step 1deg Phi=-180deg..180deg step 1deg
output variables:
  phase_diff_5_6 = ang_deg(S(5,1))-ang_deg(S(6,1))
  phase_diff_6_7 = ang_deg(S(6,1))-ang_deg(S(7,1))
  phase_diff_7_8 = ang_deg(S(7,1))-ang_deg(S(8,1))
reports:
  S-Parameters: dB(S(1,1)), dB(S(2,1)), dB(S(3,1)), dB(S(4,1)) vs Freq on Setup1 : Sweep; markers MX1 at x=5.0029718e+09, MY1 at y=-14.8709
  Gain Plot 1: dB(GainTotal) vs Theta on Setup1 : LastAdaptive, Infinite Sphere1 [Phi=0deg Freq=5GHz]
  Gain Plot 2: dB(GainTotal) vs Phi, Theta on Setup1 : LastAdaptive, Infinite Sphere1 [Freq=5GHz]

design Circuit1 (Circuit)
options: SParamCircuitDef IntegrationMethod=FFT
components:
  A3 = MS_TRL(W=1.76772mm P=8.95112mm)
  A5 = MS_TEEC(W1=1.76772mm W3=1.76772mm W2=2.98223mm)
  A1 = MS_TEEC(W2=1.76772mm W3=1.76772mm W1=2.98223mm)
  A9 = MS_TRL(W=2.98223mm P=8.73787mm)
  A2 = MS_TRL(W=2.98223mm P=8.73787mm)
  A4 = MS_TEEC(W1=1.76772mm W3=1.76772mm W2=2.98223mm)
  A6 = MS_TEEC(W2=1.76772mm W3=1.76772mm W1=2.98223mm)
  A7 = MS_TRL(W=1.76772mm P=8.95112mm)
  A8 = MS_TRL(W=1.76772mm P=8.95112mm)
  A10 = MS_TRL(W=1.76772mm P=8.95112mm)
  A11 = MS_TRL(W=1.76772mm P=8.95112mm)
  A12 = MS_TRL(W=1.76772mm P=8.95112mm)
  A13 = MS_TRL(W=1.76772mm P=8.95112mm)
  A14 = MS_TRL(W=1.76772mm P=8.95112mm)
  A15 = MS_TRL(W=1.76772mm P=8.95112mm)
  A16 = MS_TRL(W=1.76772mm P=8.95112mm)
  A17 = MS_TRL(W=1.76772mm P=8.95112mm)
  A18 = MS_TEEC(W2=1.76772mm W3=1.76772mm W1=2.98223mm)
  A19 = MS_TEEC(W1=1.76772mm W3=1.76772mm W2=2.98223mm)
  A20 = MS_TRL(W=2.98223mm P=8.73787mm)
  A21 = MS_TRL(W=2.98223mm P=8.73787mm)
  A22 = MS_TEEC(W2=1.76772mm W3=1.76772mm W1=2.98223mm)
  A23 = MS_TEEC(W1=1.76772mm W3=1.76772mm W2=2.98223mm)
  A24 = MS_TRL(W=1.76772mm P=8.95112mm)
  A60 = MS_BENDC(W1=1.76772mm W2=1.76772mm)
  A25 = MS_TRL(W=1.76772mm P=8mm)
  A26 = MS_TEEC(W2=1.76772mm W3=1.76772mm W1=1.76772mm)
  A27 = MS_TRL(W=1.76772mm P=8.95112mm)
  A28 = MS_TRL(W=1.76772mm P=8.95112mm)
  A29 = MS_TEEC(W2=1.76772mm W3=1.76772mm W1=1.76772mm)
  A30 = MS_TRL(W=1.76772mm P=8mm)
  A31 = MS_TRL(W=1.76772mm P=8.95112mm)
  A32 = MS_TEEC(W2=1.76772mm W3=1.76772mm W1=1.76772mm)
  A33 = MS_TEEC(W2=1.76772mm W3=1.76772mm W1=1.76772mm)
  A34 = MS_TRL(W=1.76772mm P=8.95112mm)
  A35 = MS_TRL(W=1.76772mm P=8.95112mm)
  A36 = MS_TRL(W=1.76772mm P=8.95112mm)
  A37 = MS_TEEC(W2=1.76772mm W3=1.76772mm W1=1.76772mm)
  A38 = MS_TEEC(W2=1.76772mm W3=1.76772mm W1=1.76772mm)
  A39 = MS_TRL(W=1.76772mm P=8.95112mm)
  A40 = MS_TRL(W=1.76772mm P=8mm)
  A41 = MS_TRL(W=1.76772mm P=8mm)
  A42 = MS_BENDC(W1=1.76772mm W2=1.76772mm)
  A43 = MS_BENDC(W2=1.76772mm W1=1.76772mm)
  A44 = MS_TRL(W=1.76772mm P=8.95112mm)
  A45 = MS_TEEC(W1=1.76772mm W3=1.76772mm W2=2.98223mm)
  A46 = MS_TEEC(W2=1.76772mm W3=1.76772mm W1=2.98223mm)
  A47 = MS_TRL(W=2.98223mm P=8.73787mm)
  A48 = MS_TRL(W=2.98223mm P=8.73787mm)
  A49 = MS_TEEC(W1=1.76772mm W3=1.76772mm W2=2.98223mm)
  A50 = MS_TEEC(W2=1.76772mm W3=1.76772mm W1=2.98223mm)
  A51 = MS_TRL(W=1.76772mm P=8.95112mm)
  A52 = MS_TRL(W=1.76772mm P=8.95112mm)
  A53 = MS_TRL(W=1.76772mm P=8.95112mm)
  A54 = MS_TRL(W=1.76772mm P=8.95112mm)
  A55 = MS_TRL(W=1.76772mm P=8.95112mm)
  A56 = MS_BENDC(W2=1.76772mm W1=1.76772mm)
  A57 = MS_TRL(W=1.76772mm P=8.95112mm)
  A58 = MS_TEEC(W1=1.76772mm W3=1.76772mm W2=2.98223mm)
  A59 = MS_TEEC(W2=1.76772mm W3=1.76772mm W1=2.98223mm)
  A61 = MS_TRL(W=2.98223mm P=8.73787mm)
  A62 = MS_TRL(W=2.98223mm P=8.73787mm)
  A63 = MS_TEEC(W1=1.76772mm W3=1.76772mm W2=2.98223mm)
  A64 = MS_TEEC(W2=1.76772mm W3=1.76772mm W1=2.98223mm)
  A65 = MS_TRL(W=1.76772mm P=8.95112mm)
  A66 = MS_TRL(W=1.76772mm P=8.95112mm)
  A67 = MS_TRL(W=1.76772mm P=8.95112mm)
  A68 = MS_TRL(W=1.76772mm P=8.95112mm)
  A69 = MS_TRL(W=1.76772mm P=8.95112mm)
  A70 = MS_TRL(W=1.76772mm P=8mm)
  A71 = MS_TRL(W=1.76772mm P=8mm)
  A72 = MS_TRL(W=1.76772mm P=8.95112mm)
  A73 = MS_TEEC(W2=1.76772mm W3=1.76772mm W1=1.76772mm)
  A74 = MS_TEEC(W2=1.76772mm W3=1.76772mm W1=1.76772mm)
  A75 = MS_TRL(W=1.76772mm P=8.95112mm)
  A76 = MS_TRL(W=1.76772mm P=8.95112mm)
  A77 = MS_TRL(W=1.76772mm P=8.95112mm)
  A78 = MS_TEEC(W2=1.76772mm W3=1.76772mm W1=1.76772mm)
  A79 = MS_TEEC(W2=1.76772mm W3=1.76772mm W1=1.76772mm)
  A80 = MS_TRL(W=1.76772mm P=8.95112mm)
  A81 = MS_TRL(W=1.76772mm P=8mm)
  A82 = MS_TEEC(W2=1.76772mm W3=1.76772mm W1=1.76772mm)
  A83 = MS_TRL(W=1.76772mm P=8.95112mm)
  A84 = MS_TRL(W=1.76772mm P=8.95112mm)
  A85 = MS_TEEC(W2=1.76772mm W3=1.76772mm W1=1.76772mm)
  A86 = MS_TRL(W=1.76772mm P=8mm)
  A87 = MS_BENDC(W1=1.76772mm W2=1.76772mm)
  A88 = MS_BENDC(W1=1.76772mm W2=1.76772mm)
  A89 = MS_BENDC(W1=1.76772mm W2=1.76772mm)
  A90 = MS_BENDC(W1=1.76772mm W2=1.76772mm)
  A91 = MS_BENDC(W1=1.76772mm W2=1.76772mm)
  A92 = MS_TRL(W=1.76772mm P=7.4mm)
  A93 = MS_BENDC(W1=1.76772mm W2=1.76772mm)
  A94 = MS_TRL(W=1.76772mm P=8.95112mm)
  A95 = MS_BENDC(W1=1.76772mm W2=1.76772mm)
  A96 = MS_TRL(W=1.76772mm P=7.4mm)
  A97 = MS_BENDC(W1=1.76772mm W2=1.76772mm)
  A105 = MS_BENDC(W1=1.76772mm W2=1.76772mm)
  A106 = MS_TRL(W=1.76772mm P=7.4mm)
  A107 = MS_BENDC(W1=1.76772mm W2=1.76772mm)
  A108 = MS_TRL(W=1.76772mm P=8.95112mm)
  A109 = MS_BENDC(W1=1.76772mm W2=1.76772mm)
  A110 = MS_TRL(W=1.76772mm P=7.4mm)
  A111 = MS_BENDC(W2=1.76772mm W1=1.76772mm)
  A99 = MS_TRL(W=1.76772mm P=9mm)
  A100 = MS_TRL(W=1.76772mm P=9mm)
  A98 = MS_BENDC(W1=1.76772mm W2=1.76772mm)
  A102 = MS_TRL(W=1.76772mm P=1.3mm)
  A103 = MS_BENDC(W1=1.76772mm W2=1.76772mm)
  A104 = MS_TRL(W=1.76772mm P=3mm)
  A112 = MS_BENDC(W1=1.76772mm W2=1.76772mm)
  A113 = MS_TRL(W=1.76772mm P=1.3mm)
  A114 = MS_BENDC(W2=1.76772mm W1=1.76772mm)
  A115 = MS_TRL(W=1.76772mm P=14.95112mm)
  A101 = MS_BENDC(W1=1.76772mm W2=1.76772mm)
  A116 = MS_TRL(W=1.76772mm P=1.3mm)
  A117 = MS_BENDC(W1=1.76772mm W2=1.76772mm)
  A118 = MS_TRL(W=1.76772mm P=3mm)
  A119 = MS_BENDC(W1=1.76772mm W2=1.76772mm)
  A120 = MS_TRL(W=1.76772mm P=1.3mm)
  A121 = MS_BENDC(W1=1.76772mm W2=1.76772mm)
  A122 = MS_TRL(W=1.76772mm P=14.95112mm)
  port Port1 pnum=1 rz=50ohm iz=0ohm noisetemp=16.85 noisetemporig=16.85cel
  port Port2 pnum=2 rz=50ohm iz=0ohm noisetemp=16.85 noisetemporig=16.85cel
  port Port3 pnum=3 rz=50ohm iz=0ohm noisetemp=16.85 noisetemporig=16.85cel
  port Port4 pnum=4 rz=50ohm iz=0ohm noisetemp=16.85 noisetemporig=16.85cel
  port Port5 pnum=5 rz=50ohm iz=0ohm noisetemp=16.85 noisetemporig=16.85cel
  port Port6 pnum=6 rz=50ohm iz=0ohm noisetemp=16.85 noisetemporig=16.85cel
  port Port7 pnum=7 rz=50ohm iz=0ohm noisetemp=16.85 noisetemporig=16.85cel
  port Port8 pnum=8 rz=50ohm iz=0ohm noisetemp=16.85 noisetemporig=16.85cel
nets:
  net_1: A3.1, A5.2
  net_10: A10.1, A1.1
  net_100: A68.1, A90.1
  net_101: A91.0, A13.1
  net_102: A91.1, A92.1
  net_103: A93.1, A92.0
  net_104: A93.0, A94.0
  net_105: A95.1, A94.1
  net_106: A95.0, A96.0
  net_107: A96.1, A97.0
  net_11: A6.1, A11.0
  net_116: A105.1, A11.1
  net_117: A105.0, A106.0
  net_118: A107.0, A106.1
  net_119: A107.1, A108.0
  net_12: A4.0, A12.0
  net_120: A109.0, A108.1
  net_121: A110.1, A109.1
  net_123: A110.0, A111.1
  net_127: A81.1, A88.0
  net_129: A99.0, A88.1
  net_13: A14.0, A18.1
  net_130: A100.0, A89.0
  net_132: A98.1, A54.1
  net_133: A102.0, A98.0
  net_134: A102.1, A103.0
  net_135: A103.1, A104.0
  net_136: A104.1, A112.0
  net_137: A112.1, A113.1
  net_138: A63.0, A69.0
  net_139: A114.1, A113.0
  net_14: A17.1, A18.2
  net_140: A67.0, A97.1
  net_141: A45.0, A52.1
  net_142: A114.0, A115.0
  net_143: A63.1, A62.1
  net_144: A59.1, A67.1
  net_145: A47.1, A50.0
  net_147: A111.0, A52.0
  net_148: A101.0, A69.1
  net_149: A101.1, A116.1
  net_15: A19.0, A13.0
  net_150: A117.1, A116.0
  net_151: A118.0, A117.0
  net_152: A118.1, A119.1
  net_153: A120.0, A119.0
  net_154: A120.1, A121.0
  net_155: A122.0, A121.1
  net_156: A60.0, A12.1
  net_157: A60.1, A25.1
  net_158: A25.0, A26.1
  net_16: A19.2, A17.0
  net_160: A41.0, A56.1
  net_17: A19.1, A20.1
  net_18: A18.0, A21.1
  net_19: A22.0, A20.0
  net_2: A3.0, A1.2
  net_20: A22.1, A15.1
  net_21: A23.0, A16.1
  net_22: A23.1, A21.0
  net_23: A22.2, A24.0
  net_24: A23.2, A24.1
  net_29: A26.0, A27.1
  net_3: A9.0, A5.1
  net_30: A26.2, A28.0
  net_31: A28.1, A29.2
  net_32: A30.0, A29.0
  net_33: A31.1, A29.1
  net_34: A32.1, A27.0
  net_35: A31.0, A33.0
  net_36: A34.0, A32.2
  net_37: A34.1, A33.2
  net_38: A32.0, A35.1
  net_39: A33.1, A36.1
  net_4: A2.0, A1.0
  net_40: A35.0, A37.1
  net_41: A38.0, A36.0
  net_42: A39.0, A37.2
  net_43: A39.1, A38.2
  net_44: A40.1, A37.0
  net_45: A41.1, A38.1
  net_46: A42.1, A14.1
  net_48: A42.0, A40.0
  net_49: A43.0, A30.1
  net_5: A4.1, A2.1
  net_50: A45.2, A44.1
  net_51: A44.0, A46.2
  net_52: A45.1, A47.0
  net_53: A48.0, A46.0
  net_54: A48.1, A49.1
  net_56: A49.2, A51.0
  net_57: A51.1, A50.2
  net_59: A53.0, A43.1
  net_6: A9.1, A6.0
  net_60: A46.1, A53.1
  net_61: A50.1, A54.0
  net_62: A49.0, A55.0
  net_64: A57.1, A58.2
  net_65: A59.2, A57.0
  net_66: A58.1, A61.0
  net_67: A59.0, A62.0
  net_69: A64.0, A61.1
  net_7: A4.2, A7.0
  net_70: A63.2, A65.0
  net_71: A65.1, A64.2
  net_72: A66.0, A56.0
  net_73: A66.1, A58.0
  net_75: A68.0, A64.1
  net_77: A70.1, A73.1
  net_78: A72.1, A73.2
  net_79: A74.0, A71.1
  net_8: A6.2, A7.1
  net_80: A74.2, A72.0
  net_81: A73.0, A75.0
  net_82: A74.1, A76.0
  net_83: A78.1, A75.1
  net_84: A78.2, A77.1
  net_85: A76.1, A79.0
  net_86: A77.0, A79.2
  net_87: A78.0, A80.0
  net_88: A82.0, A81.0
  net_89: A82.1, A80.1
  net_9: A5.0, A8.1
  net_90: A82.2, A83.1
  net_91: A84.0, A79.1
  net_92: A84.1, A85.0
  net_93: A83.0, A85.2
  net_94: A85.1, A86.0
  net_95: A55.1, A87.0
  net_96: A86.1, A87.1
  net_98: A70.0, A89.1
  net_99: A71.0, A90.0
  Port1: A8.0
  Port2: A10.0
  Port3: A16.0
  Port4: A15.0
  Port5: A115.1
  Port6: A99.1
  Port7: A100.1
  Port8: A122.1
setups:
  LinearFrequency: LinearFrequencyData(false, 0.1, false, "", false) SweepDefinition{Variable=F Data="LIN 4GHz 6GHz 0.005GHz"}
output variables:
  Phase_diff_between_5_and_6 = mod(abs(ang_deg(S(Port6,Port1))-ang_deg(S(Port5,Port1))),pi/2)*(180/pi)
  Phase_diff_between_6_and_7 = mod(abs(ang_deg(S(Port7,Port1))-ang_deg(S(Port6,Port1))),pi/2)*(180/pi)
  Phase_diff_between_7_and_8 = mod(abs(ang_deg(S(Port7,Port1))-ang_deg(S(Port8,Port1))),pi/2)*(180/pi)
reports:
  S-Parameters: dB(S(Port1,Port1)), dB(S(Port2,Port1)), dB(S(Port3,Port1)), dB(S(Port4,Port1)) vs F on LinearFrequency : LinearFrequency; markers MX1 at x=5e+09, MY1 at y=-20
  S Parameter Plot 2: ang_deg(S(Port5,Port1)), ang_deg(S(Port6,Port1)), ang_deg(S(Port7,Port1)), ang_deg(S(Port8,Port1)) vs F on LinearFrequency : LinearFrequency; markers MX1 at x=5e+09
  Phase Difference: Phase_diff_between_5_and_6, Phase_diff_between_6_and_7, Phase_diff_between_7_and_8 vs F on LinearFrequency : LinearFrequency; markers MX1 at x=5.0029851e+09
  S Parameter Plot 3: dB(S(Port5,Port1)), dB(S(Port6,Port1)), dB(S(Port7,Port1)), dB(S(Port8,Port1)) vs F on LinearFrequency : LinearFrequency
